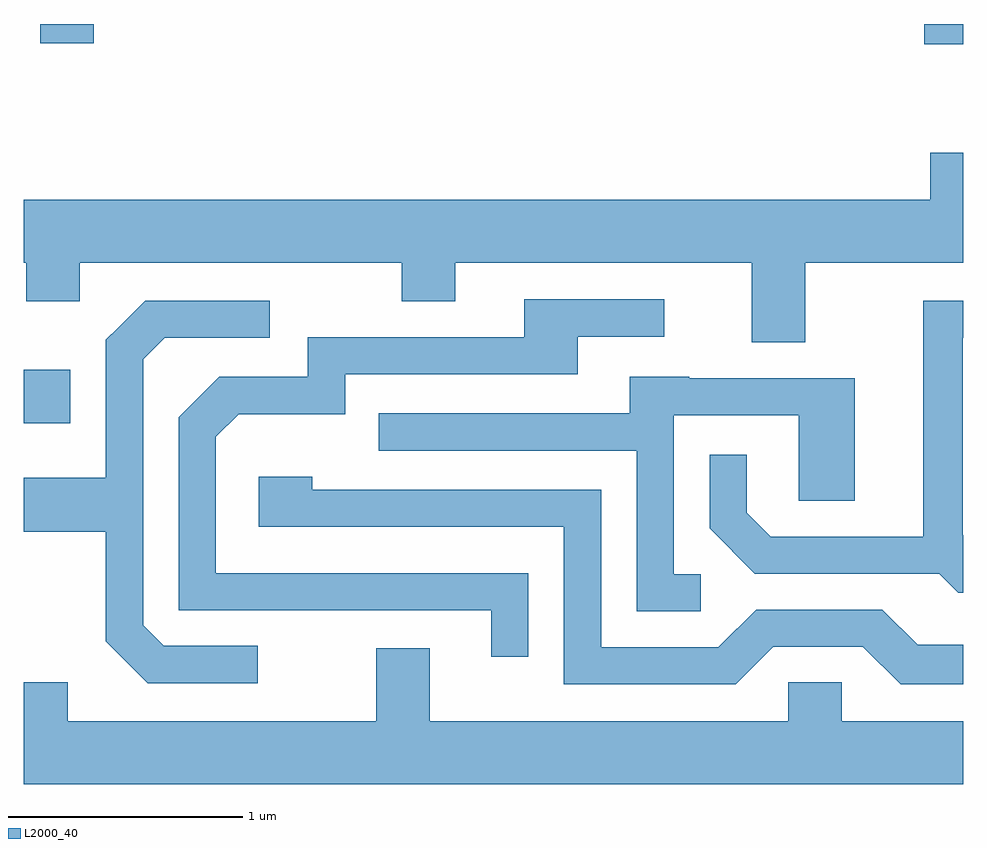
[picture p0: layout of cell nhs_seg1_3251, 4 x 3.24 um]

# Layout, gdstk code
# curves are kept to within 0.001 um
import gdstk
lib = gdstk.Library(unit=1e-6, precision=1e-09)
def R(c, l, rs):  # rectangles x0, y0, x1, y1
    for r in rs: c.add(gdstk.rectangle(r[:2], r[2:], *l))
def P(c, l, *ps):  # polygons
    for p in ps: c.add(gdstk.Polygon(p, *l))
L2000_40 = (2000, 40)

nhs_seg1_3251 = lib.new_cell('nhs_seg1_3251')
R(nhs_seg1_3251, L2000_40, [(283.611,890.011,283.809,890.239), (287.446,891.626,287.611,891.712), (283.681,891.631,283.909,891.712)])
P(nhs_seg1_3251, L2000_40, [(286.939,890.696),(287.611,890.696),(287.611,891.164),(287.471,891.164),(287.471,890.964),(283.611,890.964),(283.611,890.696),(283.621,890.696),(283.621,890.531),(283.849,890.531),(283.849,890.696),(285.221,890.696),(285.221,890.531),(285.449,890.531),(285.449,890.696),(286.711,890.696),(286.711,890.356),(286.939,890.356)],
  [(285.759,889.374),(284.429,889.374),(284.429,889.954),(284.527,890.051),(284.979,890.051),(284.979,890.221),(285.969,890.221),(285.969,890.381),(286.338,890.381),(286.338,890.539),(285.741,890.539),(285.741,890.379),(284.821,890.379),(284.821,890.209),(284.444,890.209),(284.271,890.037),(284.271,889.216),(285.601,889.216),(285.601,889.018),(285.759,889.018)],
  [(284.608,889.064),(284.207,889.064),(284.119,889.152),(284.119,890.284),(284.212,890.376),(284.658,890.376),(284.658,890.534),(284.129,890.534),(283.961,890.367),(283.961,889.779),(283.611,889.779),(283.611,889.551),(283.961,889.551),(283.961,889.084),(284.139,888.906),(284.608,888.906)],
  [(287.611,889.535),(287.609,889.537),(287.609,890.376),(287.611,890.376),(287.611,890.534),(287.441,890.534),(287.441,889.529),(286.792,889.529),(286.689,889.632),(286.689,889.878),(286.531,889.878),(286.531,889.564),(286.724,889.371),(287.509,889.371),(287.589,889.291),(287.611,889.291)],
  [(286.493,889.369),(286.379,889.369),(286.379,890.046),(286.911,890.046),(286.911,889.681),(287.149,889.681),(287.149,890.204),(286.445,890.204),(286.445,890.209),(286.191,890.209),(286.191,890.054),(285.123,890.054),(285.123,889.896),(286.221,889.896),(286.221,889.211),(286.493,889.211)],
  [(286.802,889.061),(287.184,889.061),(287.344,888.901),(287.611,888.901),(287.611,889.069),(287.417,889.069),(287.267,889.219),(286.729,889.219),(286.569,889.059),(286.069,889.059),(286.069,889.729),(284.839,889.729),(284.839,889.784),(284.611,889.784),(284.611,889.571),(285.911,889.571),(285.911,888.901),(286.642,888.901)],
  [(283.611,888.909),(283.611,888.476),(287.611,888.476),(287.611,888.744),(287.094,888.744),(287.094,888.909),(286.866,888.909),(286.866,888.744),(285.339,888.744),(285.339,889.054),(285.111,889.054),(285.111,888.744),(283.799,888.744),(283.799,888.909)])

lib.write_gds('nhs_seg1_3251.gds')
